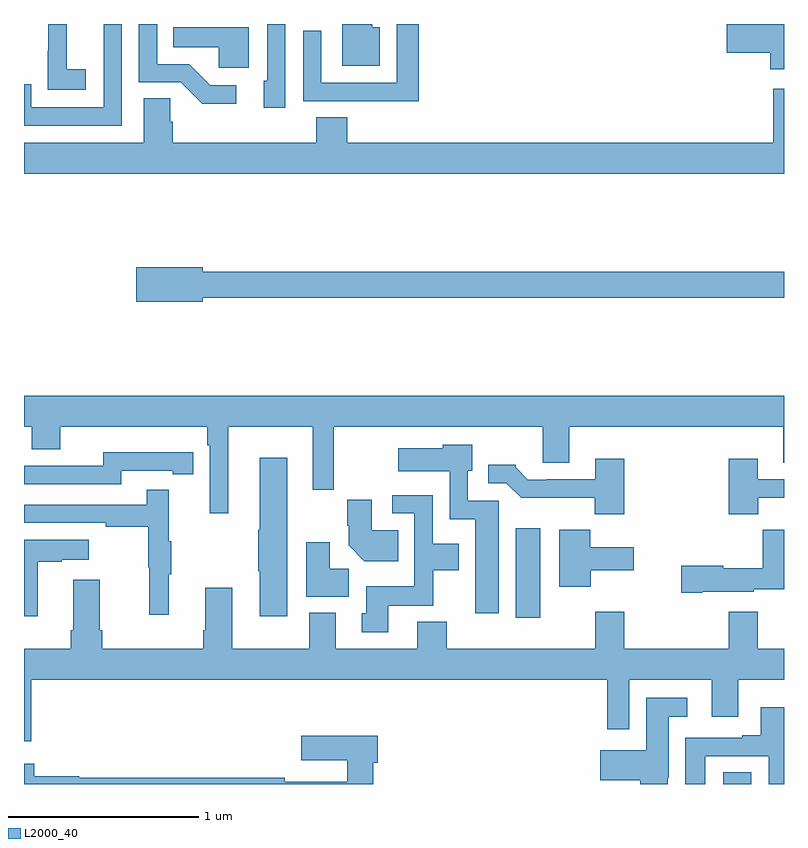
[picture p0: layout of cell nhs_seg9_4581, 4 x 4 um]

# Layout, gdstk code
import gdstk
lib = gdstk.Library(unit=1e-6, precision=1e-09)
def R(c, l, rs):  # rectangles x0, y0, x1, y1
    for r in rs: c.add(gdstk.rectangle(r[:2], r[2:], *l))
def P(c, l, *ps):  # polygons
    for p in ps: c.add(gdstk.Polygon(p, *l))
L2000_40 = (2000, 40)

nhs_seg9_4581 = lib.new_cell('nhs_seg9_4581')
R(nhs_seg9_4581, L2000_40, [(376.679,1234.5,376.828,1234.562), (375.587,1235.376,375.718,1235.845)])
P(nhs_seg9_4581, L2000_40, [(375.077,1238.5),(374.961,1238.5),(374.961,1238.19),(374.565,1238.19),(374.565,1238.464),(374.469,1238.464),(374.469,1238.094),(374.785,1238.094),(374.785,1238.093),(375.077,1238.093)],
  [(374.872,1238.482),(374.833,1238.482),(374.833,1238.5),(374.675,1238.5),(374.675,1238.279),(374.872,1238.279)],
  [(377,1238.5),(376.698,1238.5),(376.698,1238.35),(376.928,1238.35),(376.928,1238.261),(377,1238.261)],
  [(374.116,1238.178),(373.981,1238.178),(373.87,1238.289),(373.701,1238.289),(373.701,1238.5),(373.605,1238.5),(373.605,1238.193),(373.824,1238.193),(373.937,1238.081),(374.116,1238.081)],
  [(373.324,1238.263),(373.226,1238.263),(373.226,1238.492),(373.224,1238.492),(373.224,1238.5),(373.127,1238.5),(373.127,1238.359),(373.126,1238.359),(373.126,1238.153),(373.324,1238.153)],
  [(374.376,1238.5),(374.28,1238.5),(374.28,1238.202),(374.261,1238.202),(374.261,1238.058),(374.376,1238.058)],
  [(373.515,1238.5),(373.419,1238.5),(373.419,1238.061),(373.038,1238.061),(373.038,1238.184),(373,1238.184),(373,1237.965),(373.515,1237.965)],
  [(374.182,1238.482),(373.786,1238.482),(373.786,1238.378),(374.025,1238.378),(374.025,1238.27),(374.182,1238.27)],
  [(377,1238.158),(376.944,1238.158),(376.944,1237.876),(374.702,1237.876),(374.702,1238.009),(374.537,1238.009),(374.537,1237.876),(373.784,1237.876),(373.784,1237.985),(373.77,1237.985),(373.77,1238.108),(373.631,1238.108),(373.631,1237.876),(373,1237.876),(373,1237.712),(377,1237.712)],
  [(373.942,1237.06),(377,1237.06),(377,1237.196),(373.942,1237.196),(373.942,1237.22),(373.59,1237.22),(373.59,1237.037),(373.942,1237.037)],
  [(374.074,1236.38),(374.519,1236.38),(374.519,1236.048),(374.629,1236.048),(374.629,1236.38),(375.731,1236.38),(375.731,1236.19),(375.871,1236.19),(375.871,1236.38),(376.997,1236.38),(376.997,1236.19),(377,1236.19),(377,1236.544),(373,1236.544),(373,1236.38),(373.04,1236.38),(373.04,1236.263),(373.192,1236.263),(373.192,1236.38),(373.964,1236.38),(373.964,1236.284),(373.977,1236.284),(373.977,1235.925),(374.074,1235.925)],
  [(375.499,1235.991),(375.336,1235.991),(375.336,1236.15),(375.358,1236.15),(375.358,1236.286),(375.204,1236.286),(375.204,1236.268),(374.97,1236.268),(374.97,1236.146),(375.24,1236.146),(375.24,1235.894),(375.374,1235.894),(375.374,1235.4),(375.499,1235.4)],
  [(373.512,1236.15),(373.784,1236.15),(373.784,1236.13),(373.892,1236.13),(373.892,1236.246),(373.784,1236.246),(373.784,1236.247),(373.416,1236.247),(373.416,1236.174),(373,1236.174),(373,1236.078),(373.512,1236.078)],
  [(374.386,1236.217),(374.24,1236.217),(374.24,1235.837),(374.233,1235.837),(374.233,1235.62),(374.24,1235.62),(374.24,1235.382),(374.386,1235.382)],
  [(376.16,1236.211),(376.007,1236.211),(376.007,1236.105),(375.751,1236.105),(375.751,1236.102),(375.652,1236.102),(375.588,1236.166),(375.588,1236.181),(375.444,1236.181),(375.444,1236.084),(375.537,1236.084),(375.616,1236.006),(376.005,1236.006),(376.005,1235.921),(376.16,1235.921)],
  [(376.864,1236.006),(377,1236.006),(377,1236.105),(376.861,1236.105),(376.861,1236.211),(376.709,1236.211),(376.709,1235.921),(376.864,1235.921)],
  [(373.763,1235.603),(373.774,1235.603),(373.774,1235.777),(373.763,1235.777),(373.763,1236.049),(373.645,1236.049),(373.645,1235.97),(373,1235.97),(373,1235.874),(373.429,1235.874),(373.429,1235.854),(373.653,1235.854),(373.653,1235.64),(373.66,1235.64),(373.66,1235.391),(373.763,1235.391)],
  [(374.917,1235.438),(375.153,1235.438),(375.153,1235.624),(375.289,1235.624),(375.289,1235.764),(375.15,1235.764),(375.15,1236.021),(374.937,1236.021),(374.937,1235.925),(375.054,1235.925),(375.054,1235.542),(374.801,1235.542),(374.801,1235.4),(374.777,1235.4),(374.777,1235.298),(374.917,1235.298)],
  [(374.969,1235.836),(374.83,1235.836),(374.83,1235.995),(374.701,1235.995),(374.701,1235.86),(374.708,1235.86),(374.708,1235.756),(374.792,1235.672),(374.969,1235.672)],
  [(375.982,1235.624),(376.21,1235.624),(376.21,1235.746),(375.98,1235.746),(375.98,1235.839),(375.818,1235.839),(375.818,1235.538),(375.982,1235.538)],
  [(376.57,1235.513),(376.842,1235.513),(376.842,1235.525),(377,1235.525),(377,1235.839),(376.888,1235.839),(376.888,1235.635),(376.68,1235.635),(376.68,1235.648),(376.458,1235.648),(376.458,1235.506),(376.57,1235.506)],
  [(373.072,1235.671),(373.199,1235.671),(373.199,1235.681),(373.342,1235.681),(373.342,1235.785),(373,1235.785),(373,1235.382),(373.072,1235.382)],
  [(374.71,1235.633),(374.608,1235.633),(374.608,1235.773),(374.486,1235.773),(374.486,1235.486),(374.71,1235.486)],
  [(373.037,1235.048),(376.069,1235.048),(376.069,1234.788),(376.185,1234.788),(376.185,1235.048),(376.619,1235.048),(376.619,1234.854),(376.759,1234.854),(376.759,1235.048),(377,1235.048),(377,1235.212),(376.861,1235.212),(376.861,1235.407),(376.709,1235.407),(376.709,1235.212),(376.16,1235.212),(376.16,1235.407),(376.007,1235.407),(376.007,1235.212),(375.224,1235.212),(375.224,1235.353),(375.071,1235.353),(375.071,1235.212),(374.641,1235.212),(374.641,1235.401),(374.501,1235.401),(374.501,1235.212),(374.095,1235.212),(374.095,1235.533),(373.955,1235.533),(373.955,1235.308),(373.943,1235.308),(373.943,1235.212),(373.412,1235.212),(373.412,1235.308),(373.399,1235.308),(373.399,1235.575),(373.259,1235.575),(373.259,1235.308),(373.247,1235.308),(373.247,1235.212),(373,1235.212),(373,1234.725),(373.037,1234.725)],
  [(376.389,1234.534),(376.393,1234.534),(376.393,1234.853),(376.492,1234.853),(376.492,1234.954),(376.274,1234.954),(376.274,1234.678),(376.032,1234.678),(376.032,1234.52),(376.244,1234.52),(376.244,1234.5),(376.389,1234.5)],
  [(376.585,1234.647),(376.919,1234.647),(376.919,1234.5),(377,1234.5),(377,1234.903),(376.877,1234.903),(376.877,1234.756),(376.781,1234.756),(376.781,1234.743),(376.481,1234.743),(376.481,1234.5),(376.585,1234.5)],
  [(374.837,1234.613),(374.861,1234.613),(374.861,1234.755),(374.46,1234.755),(374.46,1234.625),(374.701,1234.625),(374.701,1234.512),(374.372,1234.512),(374.372,1234.532),(373.29,1234.532),(373.29,1234.54),(373.054,1234.54),(373.054,1234.606),(373,1234.606),(373,1234.5),(374.837,1234.5)])

lib.write_gds('nhs_seg9_4581.gds')
